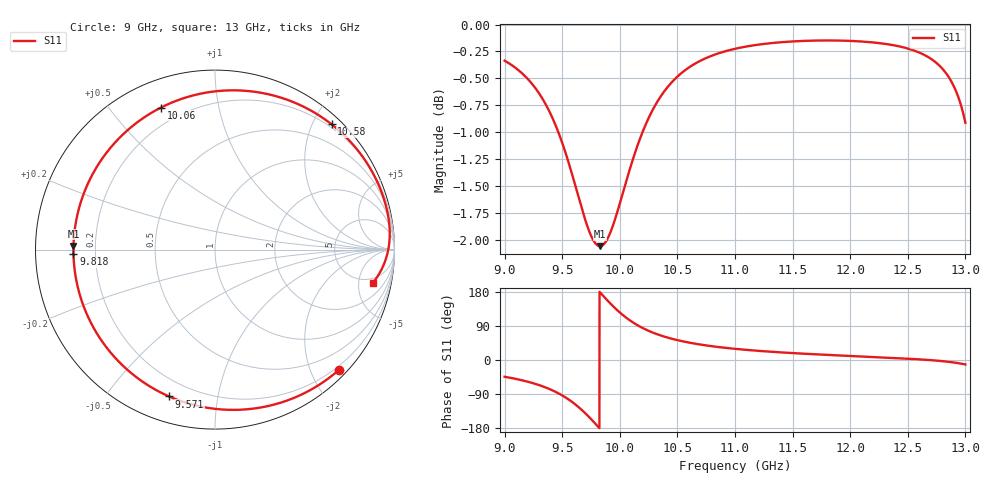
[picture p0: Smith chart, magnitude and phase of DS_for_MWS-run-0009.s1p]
! TOUCHSTONE file generated by CST DESIGN STUDIO
! Date and time: Tue Feb  4 18:25:21 2025
! Project name: C:\Work\MatlabApps\UnitCellOptimizationMatlab\CST\unitcell.cst
! Tree item: Tasks\Sweep1\SPara1\S-Parameters
! Header version: 2024
! Port assignment regex: !\s*Touchstone port\s*([0-9]+)\s*=\s*(CST MWS port|CST DES external port|CST DES block port)\s*(.+)\s* \(\"(.*)\"\)(\s*mode\s*([0-9]+))?.*
! Touchstone port assignment:
! Touchstone port 1 = CST DES external port 1 ("")
# GHz S MA R 50
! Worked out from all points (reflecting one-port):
!   4001 points, 9 GHz to 13 GHz, reference 50 ohm
!   lowest |S11| = -2.1 dB at 9.828 GHz (marker M1), VSWR 8.47, Z = 5.9 + j0.648 ohm
!   phase of S11 starts at -44 deg and turns -328 deg over the sweep
!   S11 on the Smith chart (normalised r, x): 9 GHz: 0.14, -2.45; 9.571 GHz: 0.12, -0.73; 9.818 GHz: 0.12, -0.02; 10.06 GHz: 0.12, +0.68; 10.58 GHz: 0.15, +2.29; 13 GHz: 3.96, -7.68
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9  0.962 -44.2
9.144  0.9499 -53.0
9.275  0.933 -63.8
9.39  0.9109 -76.7
9.5  0.8811 -93.5
9.571  0.8572 -107.4
9.63  0.8356 -121.2
9.687  0.8155 -136.6
9.756  0.7965 -157.7
9.818  0.7889 -178.2
9.828  0.7888 178.5
9.866  0.791 165.8
9.905  0.7975 153.2
9.953  0.8101 138.5
10  0.8256 125.4
10.059  0.8467 110.8
10.153  0.8783 91.9
10.271  0.9095 74.3
10.379  0.9299 62.4
10.5  0.9458 52.4
10.581  0.9535 47.1
10.768  0.9657 37.7
11  0.9743 29.5
11.5  0.9821 18.3
12  0.9826 10.7
12.5  0.9745 3.5
12.791  0.955 -2.8
13  0.9002 -11.8
